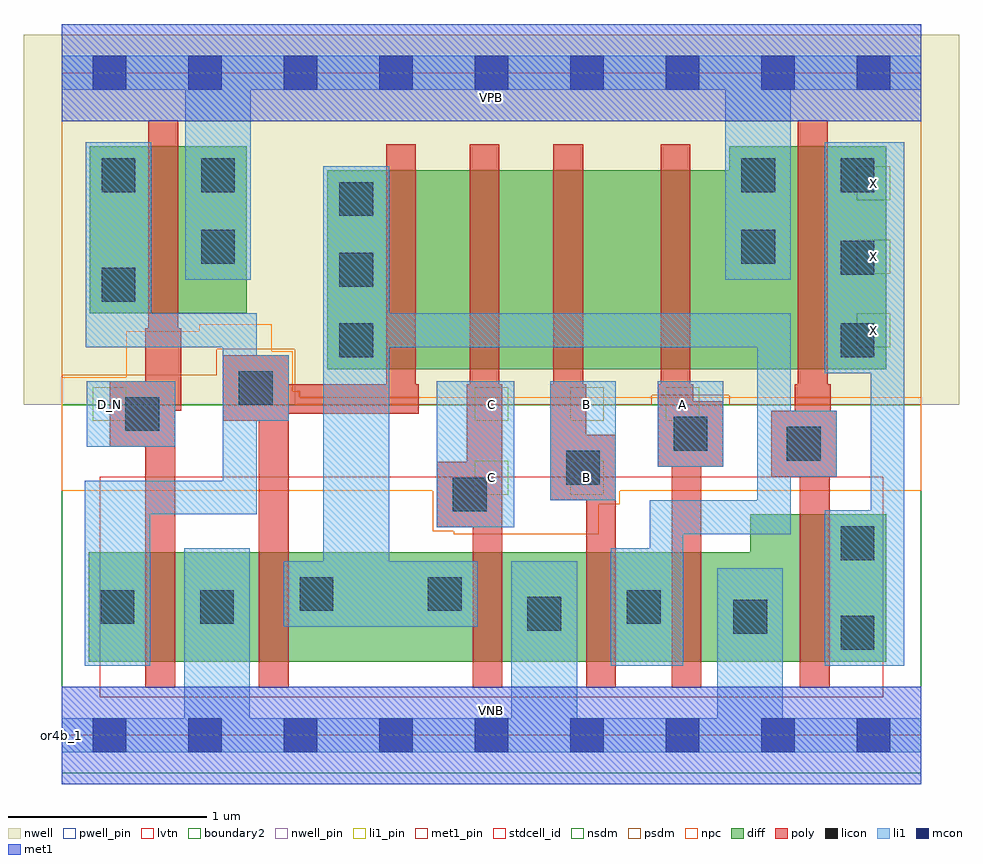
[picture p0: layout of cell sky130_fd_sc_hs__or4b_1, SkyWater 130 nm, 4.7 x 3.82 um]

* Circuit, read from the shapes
.subckt sky130_fd_sc_hs__or4b_1 A B C D_N VGND VNB VPB VPWR X
XM1 VGND D_N n1 VNB sky130_fd_pr__nfet_01v8_lvt w=0.55 l=0.15
XM2 n2 n1 VGND VNB sky130_fd_pr__nfet_01v8_lvt w=0.55 l=0.15
XM3 VGND C n2 VNB sky130_fd_pr__nfet_01v8_lvt w=0.55 l=0.15
XM4 n2 B VGND VNB sky130_fd_pr__nfet_01v8_lvt w=0.55 l=0.15
XM5 VGND A n2 VNB sky130_fd_pr__nfet_01v8_lvt w=0.55 l=0.15
XM6 X n2 VGND VNB sky130_fd_pr__nfet_01v8_lvt w=0.74 l=0.15
XM7 VPWR D_N n1 VPB sky130_fd_pr__pfet_01v8 w=0.84 l=0.15
XM8 n3 n1 n2 VPB sky130_fd_pr__pfet_01v8 w=1 l=0.15
XM9 n4 C n3 VPB sky130_fd_pr__pfet_01v8 w=1 l=0.15
XM10 n5 B n4 VPB sky130_fd_pr__pfet_01v8 w=1 l=0.15
XM11 VPWR A n5 VPB sky130_fd_pr__pfet_01v8 w=1 l=0.15
XM12 X n2 VPWR VPB sky130_fd_pr__pfet_01v8 w=1.12 l=0.15
.ends

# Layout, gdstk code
import gdstk
lib = gdstk.Library(unit=1e-6, precision=1e-09)
def R(c, l, rs):  # rectangles x0, y0, x1, y1
    for r in rs: c.add(gdstk.rectangle(r[:2], r[2:], *l))
def A(c, l, x, y, w, h, nx, ny, dx, dy):  # array of equal rectangles
    R(c, l, [(x+i*dx, y+j*dy, x+i*dx+w, y+j*dy+h) for i in range(nx) for j in range(ny)])
def P(c, l, *ps):  # polygons
    for p in ps: c.add(gdstk.Polygon(p, *l))
nwell_pin = (64, 16)
nwell = (64, 20)
diff = (65, 20)
poly = (66, 20)
licon = (66, 44)
li1_pin = (67, 16)
li1 = (67, 20)
mcon = (67, 44)
met1_pin = (68, 16)
met1 = (68, 20)
stdcell_id = (81, 4)
nsdm = (93, 44)
psdm = (94, 20)
npc = (95, 20)
pwell_pin = (122, 16)
lvtn = (125, 44)
boundary2 = (236, 0)

sky130_fd_sc_hs__or4b_1 = lib.new_cell('sky130_fd_sc_hs__or4b_1')
R(sky130_fd_sc_hs__or4b_1, nwell_pin, [(0,3.085,4.32,3.33)])
R(sky130_fd_sc_hs__or4b_1, nwell, [(-0.19,1.66,4.51,3.52)])
R(sky130_fd_sc_hs__or4b_1, diff, [(0.14,2.12,0.93,2.96)])
P(sky130_fd_sc_hs__or4b_1, diff, [(4.145,2.96),(3.355,2.96),(3.355,2.84),(1.335,2.84),(1.335,1.84),(4.145,1.84)],
  [(4.145,1.11),(3.46,1.11),(3.46,0.92),(0.135,0.92),(0.135,0.37),(4.145,0.37)])
P(sky130_fd_sc_hs__or4b_1, poly, [(3.895,1.63),(3.865,1.63),(3.865,1.765),(3.85,1.765),(3.85,3.09),(3.7,3.09),(3.7,1.765),(3.685,1.765),(3.685,1.63),(3.565,1.63),(3.565,1.3),(3.71,1.3),(3.71,0.24),(3.86,0.24),(3.86,1.3),(3.895,1.3)],
  [(3.325,1.68),(3.175,1.68),(3.175,1.765),(3.16,1.765),(3.16,2.97),(3.01,2.97),(3.01,1.765),(2.995,1.765),(2.995,1.35),(3.065,1.35),(3.065,0.24),(3.215,0.24),(3.215,1.35),(3.325,1.35)],
  [(2.785,1.51),(2.635,1.51),(2.635,1.765),(2.62,1.765),(2.62,2.97),(2.47,2.97),(2.47,1.765),(2.455,1.765),(2.455,1.18),(2.635,1.18),(2.635,0.24),(2.785,0.24)],
  [(2.215,1.765),(2.2,1.765),(2.2,2.97),(2.05,2.97),(2.05,1.765),(2.035,1.765),(2.035,1.375),(1.885,1.375),(1.885,1.045),(2.065,1.045),(2.065,0.24),(2.215,0.24)],
  [(1.795,1.765),(1.78,1.765),(1.78,2.97),(1.63,2.97),(1.63,1.765),(1.14,1.765),(1.14,1.91),(0.81,1.91),(0.81,1.58),(0.99,1.58),(0.99,0.24),(1.14,0.24),(1.14,1.615),(1.795,1.615)],
  [(0.6,2.045),(0.585,2.045),(0.585,3.09),(0.435,3.09),(0.435,2.045),(0.42,2.045),(0.42,1.78),(0.24,1.78),(0.24,1.45),(0.42,1.45),(0.42,0.24),(0.57,0.24),(0.57,1.63),(0.6,1.63)])
A(sky130_fd_sc_hs__or4b_1, licon, 1.395, 1.9, 0.17, 0.17, 1, 3, 0, 0.355)
A(sky130_fd_sc_hs__or4b_1, licon, 3.915, 1.9, 0.17, 0.17, 1, 3, 0, 0.415)
R(sky130_fd_sc_hs__or4b_1, licon, [(3.915,0.43,4.085,0.6), (3.375,0.51,3.545,0.68), (2.34,0.525,2.51,0.695), (0.195,0.56,0.365,0.73), (0.695,0.56,0.865,0.73), (2.84,0.56,3.01,0.73), (1.195,0.625,1.365,0.795), (1.84,0.625,2.01,0.795), (3.915,0.88,4.085,1.05), (1.965,1.125,2.135,1.295), (2.535,1.26,2.705,1.43), (3.645,1.38,3.815,1.55), (3.075,1.43,3.245,1.6), (0.32,1.53,0.49,1.7), (0.89,1.66,1.06,1.83), (0.2,2.18,0.37,2.35), (0.7,2.37,0.87,2.54), (3.415,2.37,3.585,2.54), (0.2,2.73,0.37,2.9), (0.7,2.73,0.87,2.9), (3.415,2.73,3.585,2.9)])
A(sky130_fd_sc_hs__or4b_1, li1_pin, 2.075, 1.58, 0.17, 0.17, 3, 1, 0.48, 0)
A(sky130_fd_sc_hs__or4b_1, li1_pin, 3.995, 1.95, 0.17, 0.17, 1, 3, 0, 0.37)
R(sky130_fd_sc_hs__or4b_1, li1_pin, [(2.075,1.21,2.245,1.38), (2.555,1.21,2.725,1.38), (0.155,1.58,0.325,1.75)])
R(sky130_fd_sc_hs__or4b_1, li1, [(1.885,1.045,2.275,1.78), (2.455,1.18,2.785,1.78), (2.995,1.35,3.325,1.78), (0.125,1.45,0.57,1.78)])
P(sky130_fd_sc_hs__or4b_1, li1, [(0,-0.085),(0,0.085),(0.615,0.085),(0.615,0.94),(0.945,0.94),(0.945,0.085),(2.26,0.085),(2.26,0.875),(2.59,0.875),(2.59,0.085),(3.295,0.085),(3.295,0.84),(3.625,0.84),(3.625,0.085),(4.32,0.085),(4.32,-0.085)],
  [(0,3.245),(0,3.415),(4.32,3.415),(4.32,3.245),(3.665,3.245),(3.665,2.29),(3.335,2.29),(3.335,3.245),(0.95,3.245),(0.95,2.29),(0.62,2.29),(0.62,3.245)],
  [(3.835,1.82),(3.835,2.98),(4.235,2.98),(4.235,0.35),(3.835,0.35),(3.835,1.13),(4.065,1.13),(4.065,1.82)],
  [(0.115,1.28),(0.81,1.28),(0.81,1.95),(0.12,1.95),(0.12,2.98),(0.45,2.98),(0.45,2.12),(0.98,2.12),(0.98,1.91),(1.14,1.91),(1.14,1.58),(0.98,1.58),(0.98,1.11),(0.445,1.11),(0.445,0.35),(0.115,0.35)],
  [(2.955,1.18),(3.495,1.18),(3.495,1.95),(1.645,1.95),(1.645,0.875),(2.09,0.875),(2.09,0.545),(1.115,0.545),(1.115,0.875),(1.315,0.875),(1.315,2.86),(1.645,2.86),(1.645,2.12),(3.665,2.12),(3.665,1.63),(3.895,1.63),(3.895,1.3),(3.665,1.3),(3.665,1.01),(3.125,1.01),(3.125,0.35),(2.76,0.35),(2.76,0.94),(2.955,0.94)])
A(sky130_fd_sc_hs__or4b_1, mcon, 0.155, -0.085, 0.17, 0.17, 9, 2, 0.48, 3.33)
R(sky130_fd_sc_hs__or4b_1, met1_pin, [(0,0,4.32,0.245), (0,3.085,4.32,3.33)])
R(sky130_fd_sc_hs__or4b_1, met1, [(0,-0.245,4.32,0.245), (0,3.085,4.32,3.575)])
R(sky130_fd_sc_hs__or4b_1, stdcell_id, [(0,0,4.32,3.33)])
R(sky130_fd_sc_hs__or4b_1, nsdm, [(0,-0.19,4.32,1.66)])
P(sky130_fd_sc_hs__or4b_1, psdm, [(4.32,3.52),(0,3.52),(0,1.81),(0.78,1.81),(0.78,1.94),(1.17,1.94),(1.17,1.66),(2.965,1.66),(2.965,1.71),(3.355,1.71),(3.355,1.66),(4.32,1.66)])
P(sky130_fd_sc_hs__or4b_1, npc, [(4.32,1.7),(1.195,1.7),(1.195,1.73),(1.16,1.73),(1.16,1.93),(1.055,1.93),(1.055,2.065),(0.69,2.065),(0.69,2.03),(0.325,2.03),(0.325,1.8),(0,1.8),(0,1.23),(1.865,1.23),(1.865,1.025),(1.97,1.025),(1.97,1.01),(2.7,1.01),(2.7,1.16),(2.805,1.16),(2.805,1.23),(4.32,1.23)])
R(sky130_fd_sc_hs__or4b_1, pwell_pin, [(0,0,4.32,0.245)])
R(sky130_fd_sc_hs__or4b_1, lvtn, [(0.19,0.19,4.13,1.3)])
R(sky130_fd_sc_hs__or4b_1, boundary2, [(0,0,4.32,3.33)])
sky130_fd_sc_hs__or4b_1.add(gdstk.Label('or4b_1', (0,0), layer=83, texttype=44))
sky130_fd_sc_hs__or4b_1.add(gdstk.Label('VNB', (2.16,0.123), layer=64, texttype=59))
sky130_fd_sc_hs__or4b_1.add(gdstk.Label('VPB', (2.16,3.208), layer=64, texttype=5))
sky130_fd_sc_hs__or4b_1.add(gdstk.Label('VPWR', (2.16,3.208), layer=68, texttype=5))
sky130_fd_sc_hs__or4b_1.add(gdstk.Label('VGND', (2.16,0.123), layer=68, texttype=5))
sky130_fd_sc_hs__or4b_1.add(gdstk.Label('D_N', (0.24,1.665), layer=67, texttype=5))
sky130_fd_sc_hs__or4b_1.add(gdstk.Label('A', (3.12,1.665), layer=67, texttype=5))
sky130_fd_sc_hs__or4b_1.add(gdstk.Label('B', (2.64,1.295), layer=67, texttype=5))
sky130_fd_sc_hs__or4b_1.add(gdstk.Label('B', (2.64,1.665), layer=67, texttype=5))
sky130_fd_sc_hs__or4b_1.add(gdstk.Label('C', (2.16,1.295), layer=67, texttype=5))
sky130_fd_sc_hs__or4b_1.add(gdstk.Label('C', (2.16,1.665), layer=67, texttype=5))
sky130_fd_sc_hs__or4b_1.add(gdstk.Label('X', (4.08,2.035), layer=67, texttype=5))
sky130_fd_sc_hs__or4b_1.add(gdstk.Label('X', (4.08,2.405), layer=67, texttype=5))
sky130_fd_sc_hs__or4b_1.add(gdstk.Label('X', (4.08,2.775), layer=67, texttype=5))

lib.write_gds('sky130_fd_sc_hs__or4b_1.gds')
